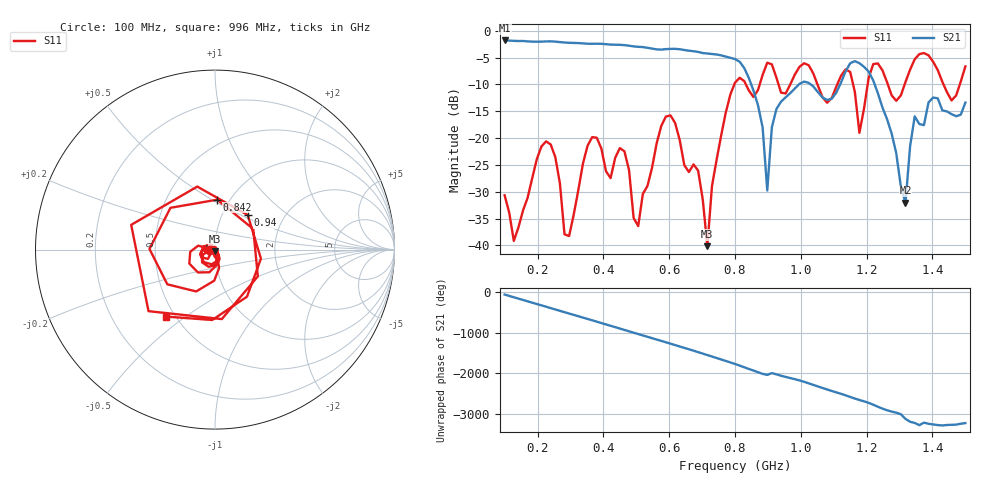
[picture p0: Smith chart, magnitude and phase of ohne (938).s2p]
! NanoVNA-App
! Date: 2025-09-25 14:28:06
! Start: 100MHz Stop: 1,5GHz Points: 101
! S-Parameter data: F S11 S21 S12 S22
# Hz S RI R 50
!  Frequency  S11_Real  S11_Imag  S21_Real  S21_Imag  S12_Real  S12_Imag  S22_Real  S22_Imag
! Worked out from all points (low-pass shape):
!   101 points, 100 MHz to 1.5 GHz, reference 50 ohm
!   highest |S21| = -1.79 dB at 100 MHz (marker M1); lowest = -32.0 dB at 1.318 GHz (marker M2)
!   |S21| within 3 dB of the highest: start of sweep to 771.2 MHz
!   lowest |S11| = -40.1 dB at 716 MHz (marker M3), VSWR 1.02, Z = 49.8 - j0.959 ohm
!   |S11| at or under -10 dB: start of sweep to 797.9 MHz; 833.1 MHz to 875 MHz (41.93 MHz wide, 4.91 % of centre); 1.051 GHz to 1.111 GHz (60.05 MHz wide, 5.56 % of centre) (the widest 3 of 7)
!   S12 and S22 are empty: the file has one direction only
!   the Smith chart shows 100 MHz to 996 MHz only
!   S11 on the Smith chart (normalised r, x): 100 MHz: 0.94, -0.01; 842 MHz: 0.88, +0.53; 940 MHz: 1.32, +0.55; 996 MHz: 0.45, -0.42
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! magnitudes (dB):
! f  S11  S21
! 100 MHz  -30.6  -1.8
! 128 MHz  -39.1  -1.9
! 226 MHz  -20.6  -2.0
! 296 MHz  -38.2  -2.2
! 338 MHz  -24.7  -2.3
! 464 MHz  -22.4  -2.7
! 506 MHz  -36.4  -3.0
! 576 MHz  -17.7  -3.5
! 688 MHz  -26.1  -3.9
! 716 MHz  -40.1  -4.2
! 800 MHz  -9.7  -5.3
! 842 MHz  -11.1  -8.8
! 898 MHz  -5.9  -29.8
! 940 MHz  -11.5  -13.2
! 996 MHz  -6.7  -9.9
! 1.038 GHz  -8.0  -10.4
! 1.178 GHz  -19.0  -6.0
! 1.22 GHz  -6.2  -9.3
! 1.276 GHz  -12.0  -19.1
! 1.318 GHz  -9.5  -32.0
! 1.346 GHz  -5.3  -15.9
! 1.5 GHz  -6.6  -13.4
